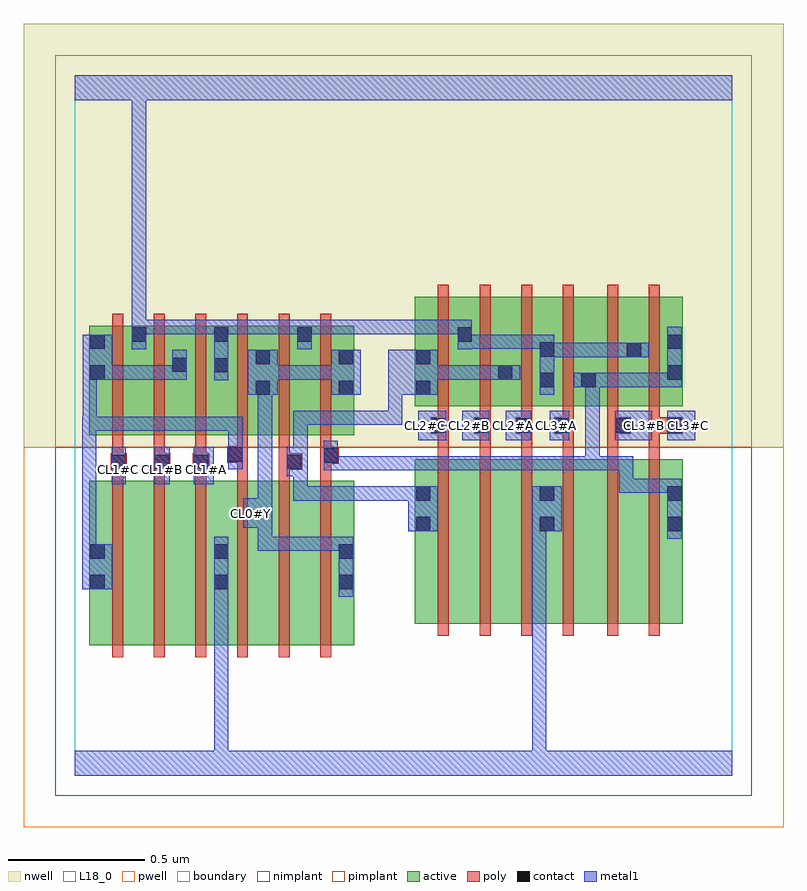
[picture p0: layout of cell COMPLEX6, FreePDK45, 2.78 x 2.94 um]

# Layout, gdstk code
import gdstk
lib = gdstk.Library(unit=1e-6, precision=1e-09)
def R(c, l, rs):  # rectangles x0, y0, x1, y1
    for r in rs: c.add(gdstk.rectangle(r[:2], r[2:], *l))
def A(c, l, x, y, w, h, nx, ny, dx, dy):  # array of equal rectangles
    R(c, l, [(x+i*dx, y+j*dy, x+i*dx+w, y+j*dy+h) for i in range(nx) for j in range(ny)])
active = (1, 0)
pwell = (2, 0)
nwell = (3, 0)
nimplant = (4, 0)
pimplant = (5, 0)
poly = (9, 0)
contact = (10, 0)
metal1 = (11, 0)
L18_0 = (18, 0)
boundary = (235, 0)

complex6 = lib.new_cell('COMPLEX6')
A(complex6, active, 0.352, 1.244, 0.212, 0.4, 4, 1, 0.152, 0)
A(complex6, active, 0.352, 1.244, 0.06, 0.4, 5, 1, 0.152, 0)
A(complex6, active, 1.542, 1.35, 0.06, 0.294, 3, 1, 0.152, 0)
R(complex6, active, [(0.052,0.478,0.232,1.078), (0.232,0.478,0.384,1.078), (0.384,0.478,0.564,1.078), (0.504,0.478,0.688,1.078), (0.688,0.478,0.84,1.078), (0.84,0.478,1.02,1.078), (0.052,0.556,0.112,1.078), (0.504,0.556,0.564,0.85), (0.96,0.556,1.02,1.078), (1.242,0.556,1.302,1.156), (1.242,0.556,1.422,1.156), (1.422,0.556,1.574,1.156), (1.574,0.556,1.754,1.156), (1.694,0.556,1.754,1.156), (1.694,0.556,1.888,1.156), (1.888,0.556,2.04,1.156), (2.04,0.556,2.22,1.156), (2.16,0.556,2.22,1.156), (0.052,1.244,0.264,1.644), (0.052,1.244,0.112,1.644), (0.204,1.244,0.412,1.644), (0.204,1.244,0.264,1.644), (1.242,1.35,1.302,1.644), (1.242,1.35,1.454,1.75), (1.394,1.35,1.454,1.644), (1.394,1.35,1.602,1.75), (1.542,1.35,1.754,1.75), (1.694,1.35,1.906,1.75), (1.846,1.35,2.072,1.75), (2.012,1.35,2.072,1.644), (2.012,1.35,2.22,1.75), (2.16,1.35,2.22,1.644)])
R(complex6, pwell, [(-0.188,-0.188,2.588,1.2)])
R(complex6, nwell, [(-0.188,1.2,2.588,2.748)])
R(complex6, nimplant, [(-0.072,-0.072,2.472,1.2)])
R(complex6, pimplant, [(-0.072,1.2,2.472,2.632)])
A(complex6, poly, 0.136, 0.434, 0.04, 0.688, 6, 1, 0.152, 0)
A(complex6, poly, 1.326, 0.512, 0.04, 0.688, 4, 1, 0.152, 0)
A(complex6, poly, 0.136, 1.082, 0.04, 0.076, 3, 1, 0.152, 0)
A(complex6, poly, 0.136, 1.138, 0.04, 0.102, 3, 1, 0.152, 0)
A(complex6, poly, 1.326, 1.16, 0.04, 0.13, 4, 1, 0.152, 0)
A(complex6, poly, 0.136, 1.2, 0.04, 0.488, 6, 1, 0.152, 0)
A(complex6, poly, 1.326, 1.27, 0.04, 0.076, 4, 1, 0.152, 0)
A(complex6, poly, 1.326, 1.306, 0.04, 0.488, 4, 1, 0.152, 0)
R(complex6, poly, [(1.944,0.512,1.984,1.2), (2.096,0.512,2.136,1.2), (0.592,1.082,0.632,1.184), (0.744,1.082,0.784,1.158), (0.896,1.082,0.936,1.18), (0.13,1.118,0.19,1.178), (0.288,1.118,0.348,1.178), (0.43,1.118,0.49,1.178), (0.744,1.118,0.83,1.178), (0.136,1.138,0.176,1.178), (0.136,1.138,0.176,1.178), (0.288,1.138,0.328,1.178), (0.288,1.138,0.328,1.178), (0.44,1.138,0.48,1.178), (0.44,1.138,0.48,1.178), (0.744,1.138,0.784,1.178), (0.744,1.138,0.784,1.178), (0.744,1.138,0.784,1.24), (0.896,1.14,0.964,1.2), (0.556,1.144,0.632,1.204), (0.592,1.144,0.632,1.184), (0.592,1.144,0.632,1.184), (0.896,1.16,0.936,1.2), (0.896,1.16,0.936,1.2), (0.896,1.16,0.936,1.24), (1.944,1.16,1.984,1.29), (2.096,1.16,2.136,1.29), (0.592,1.164,0.632,1.24), (1.3,1.25,1.366,1.31), (1.326,1.25,1.366,1.29), (1.326,1.25,1.366,1.29), (1.458,1.25,1.518,1.31), (1.478,1.25,1.518,1.29), (1.478,1.25,1.518,1.29), (1.61,1.25,1.67,1.31), (1.63,1.25,1.67,1.29), (1.63,1.25,1.67,1.29), (1.75,1.25,1.822,1.31), (1.782,1.25,1.822,1.29), (1.782,1.25,1.822,1.29), (1.944,1.25,1.984,1.29), (1.944,1.25,1.984,1.29), (1.944,1.25,2.03,1.31), (2.096,1.25,2.136,1.29), (2.096,1.25,2.136,1.29), (2.096,1.25,2.22,1.31), (1.944,1.27,1.984,1.346), (2.096,1.27,2.136,1.346), (1.944,1.306,1.984,1.794), (2.096,1.306,2.136,1.794)])
R(complex6, contact, [(0.056,0.682,0.108,0.734), (0.508,0.682,0.56,0.734), (0.964,0.682,1.016,0.734), (0.056,0.794,0.108,0.846), (0.508,0.794,0.56,0.846), (0.964,0.794,1.016,0.846), (1.246,0.894,1.298,0.946), (1.698,0.894,1.75,0.946), (2.164,0.894,2.216,0.946), (1.246,1.006,1.298,1.058), (1.698,1.006,1.75,1.058), (2.164,1.006,2.216,1.058), (0.134,1.122,0.186,1.174), (0.292,1.122,0.344,1.174), (0.434,1.122,0.486,1.174), (0.774,1.122,0.826,1.174), (0.908,1.144,0.96,1.196), (0.56,1.148,0.612,1.2), (1.304,1.254,1.356,1.306), (1.462,1.254,1.514,1.306), (1.614,1.254,1.666,1.306), (1.754,1.254,1.806,1.306), (1.974,1.254,2.026,1.306), (2.164,1.254,2.216,1.306), (0.66,1.392,0.712,1.444), (0.964,1.392,1.016,1.444), (1.246,1.392,1.298,1.444), (1.698,1.42,1.75,1.472), (1.85,1.42,1.902,1.472), (0.056,1.448,0.108,1.5), (1.546,1.448,1.598,1.5), (2.164,1.448,2.216,1.5), (0.508,1.474,0.56,1.526), (0.356,1.476,0.408,1.528), (0.66,1.504,0.712,1.556), (0.964,1.504,1.016,1.556), (1.246,1.504,1.298,1.556), (2.016,1.53,2.068,1.582), (1.698,1.532,1.75,1.584), (0.056,1.56,0.108,1.612), (2.164,1.56,2.216,1.612), (0.208,1.586,0.26,1.638), (0.508,1.586,0.56,1.638), (0.812,1.586,0.864,1.638), (1.398,1.586,1.45,1.638)])
R(complex6, metal1, [(0,0,2.4,0.092), (0.508,0.04,0.56,0.092), (0.508,0.04,0.56,0.092), (0.508,0.04,0.56,0.092), (0.508,0.04,0.56,0.092), (0.508,0.04,0.56,0.092), (0.508,0.04,0.56,0.092), (0.508,0.04,0.56,0.092), (0.508,0.04,0.56,0.092), (0.508,0.04,0.56,0.706), (1.67,0.04,1.722,0.946), (0.508,0.654,0.56,0.874), (0.964,0.654,1.016,0.874), (0.026,0.682,0.136,0.846), (0.026,0.794,0.078,0.846), (0.026,0.794,0.078,0.846), (0.026,0.794,0.078,1.312), (0.668,0.822,0.72,0.874), (0.668,0.822,0.72,0.874), (0.668,0.822,0.72,0.958), (0.668,0.822,0.722,0.874), (0.67,0.822,0.722,0.874), (0.67,0.822,0.722,0.874), (0.67,0.822,0.864,0.874), (0.812,0.822,0.864,0.874), (0.812,0.822,1.016,0.874), (0.964,0.822,1.016,0.874), (0.964,0.822,1.016,0.874), (2.164,0.866,2.216,1.086), (1.218,0.894,1.326,1.058), (1.67,0.894,1.722,0.946), (1.67,0.894,1.722,0.946), (1.67,0.894,1.722,0.946), (1.67,0.894,1.722,0.946), (1.67,0.894,1.722,0.946), (1.67,0.894,1.722,0.946), (1.67,0.894,1.722,0.946), (1.67,0.894,1.722,0.946), (1.67,0.894,1.778,1.058), (0.614,0.906,0.72,1.014), (0.668,0.962,0.72,1.014), (0.668,0.962,0.72,1.014), (0.668,0.962,0.72,1.444), (0.798,1.006,0.85,1.058), (0.798,1.006,1.086,1.058), (0.798,1.006,0.85,1.146), (1.034,1.006,1.086,1.058), (1.034,1.006,1.086,1.058), (1.034,1.006,1.086,1.058), (1.034,1.006,1.27,1.058), (1.988,1.034,2.04,1.086), (1.988,1.034,2.216,1.086), (1.988,1.034,2.04,1.168), (2.164,1.034,2.216,1.086), (2.164,1.034,2.216,1.086), (0.134,1.066,0.186,1.202), (0.292,1.066,0.346,1.202), (0.434,1.066,0.506,1.202), (0.774,1.094,0.826,1.202), (0.774,1.094,0.85,1.146), (0.798,1.094,0.85,1.146), (0.798,1.094,0.85,1.334), (0.908,1.116,0.96,1.224), (0.908,1.116,0.974,1.168), (0.922,1.116,0.974,1.168), (0.922,1.116,1.306,1.168), (1.254,1.116,1.306,1.168), (1.254,1.116,1.306,1.168), (1.254,1.116,1.306,1.168), (1.254,1.116,1.45,1.168), (1.398,1.116,1.45,1.168), (1.398,1.116,1.45,1.168), (1.398,1.116,1.45,1.168), (1.398,1.116,1.56,1.168), (1.508,1.116,1.56,1.168), (1.508,1.116,1.56,1.168), (1.508,1.116,1.56,1.168), (1.508,1.116,1.67,1.168), (1.618,1.116,1.67,1.168), (1.618,1.116,1.916,1.168), (1.864,1.116,1.916,1.168), (1.864,1.116,1.916,1.168), (1.864,1.116,1.916,1.168), (1.864,1.116,1.916,1.168), (1.864,1.116,1.916,1.168), (1.864,1.116,2.04,1.168), (1.864,1.116,1.916,1.472), (1.988,1.116,2.04,1.168), (1.988,1.116,2.04,1.168), (1.988,1.116,2.04,1.168), (0.56,1.12,0.612,1.312), (1.254,1.226,1.356,1.334), (1.414,1.226,1.514,1.334), (1.574,1.226,1.666,1.334), (1.734,1.226,1.806,1.334), (1.974,1.226,2.106,1.334), (2.164,1.226,2.266,1.334), (0.026,1.26,0.08,1.312), (0.028,1.26,0.08,1.312), (0.028,1.26,0.08,1.312), (0.028,1.26,0.08,1.5), (0.028,1.26,0.26,1.312), (0.208,1.26,0.26,1.312), (0.208,1.26,0.26,1.312), (0.208,1.26,0.26,1.312), (0.208,1.26,0.37,1.312), (0.318,1.26,0.37,1.312), (0.318,1.26,0.37,1.312), (0.318,1.26,0.37,1.312), (0.318,1.26,0.48,1.312), (0.428,1.26,0.48,1.312), (0.428,1.26,0.612,1.312), (0.798,1.282,0.85,1.334), (0.798,1.282,0.936,1.334), (0.884,1.282,0.936,1.334), (0.884,1.282,1.196,1.334), (1.144,1.282,1.196,1.334), (1.144,1.282,1.196,1.334), (1.144,1.282,1.196,1.334), (1.144,1.282,1.196,1.444), (0.632,1.392,0.74,1.556), (0.936,1.392,1.044,1.556), (1.144,1.392,1.326,1.556), (1.698,1.392,1.75,1.612), (1.822,1.42,1.93,1.472), (1.878,1.42,2.04,1.472), (1.988,1.42,2.04,1.472), (1.988,1.42,2.04,1.472), (1.988,1.42,2.04,1.472), (1.988,1.42,2.216,1.472), (2.164,1.42,2.216,1.472), (2.164,1.42,2.216,1.472), (2.164,1.42,2.216,1.64), (0.508,1.446,0.56,1.666), (0.028,1.448,0.136,1.612), (0.084,1.448,0.136,1.5), (0.084,1.448,0.136,1.5), (0.084,1.448,0.26,1.5), (0.208,1.448,0.26,1.5), (0.208,1.448,0.26,1.5), (0.208,1.448,0.26,1.5), (0.208,1.448,0.408,1.5), (0.356,1.448,0.408,1.556), (0.688,1.448,0.74,1.5), (0.688,1.448,0.74,1.5), (0.688,1.448,0.85,1.5), (0.798,1.448,0.85,1.5), (0.798,1.448,0.988,1.5), (0.936,1.448,0.988,1.5), (0.936,1.448,0.988,1.5), (1.274,1.448,1.326,1.5), (1.274,1.448,1.326,1.5), (1.274,1.448,1.45,1.5), (1.398,1.448,1.45,1.5), (1.398,1.448,1.45,1.5), (1.398,1.448,1.45,1.5), (1.398,1.448,1.57,1.5), (1.518,1.448,1.626,1.5), (1.698,1.53,1.916,1.582), (1.864,1.53,1.916,1.582), (1.864,1.53,1.916,1.582), (1.864,1.53,1.916,1.582), (1.864,1.53,2.04,1.582), (1.988,1.53,2.04,1.582), (1.988,1.53,2.04,1.582), (1.988,1.53,2.096,1.582), (0.208,1.558,0.26,1.666), (0.812,1.558,0.864,1.666), (1.398,1.558,1.45,1.666), (1.398,1.56,1.45,1.612), (1.398,1.56,1.45,1.612), (1.398,1.56,1.56,1.612), (1.508,1.56,1.56,1.612), (1.508,1.56,1.56,1.612), (1.508,1.56,1.56,1.612), (1.508,1.56,1.75,1.612), (0.208,1.614,0.26,1.666), (0.208,1.614,0.26,1.666), (0.208,1.614,0.26,1.666), (0.208,1.614,0.26,1.666), (0.208,1.614,0.26,1.666), (0.208,1.614,0.26,1.666), (0.208,1.614,0.26,1.666), (0.208,1.614,0.26,1.666), (0.208,1.614,0.26,1.666), (0.208,1.614,0.26,1.666), (0.208,1.614,0.37,1.666), (0.208,1.614,0.26,2.52), (0.318,1.614,0.37,1.666), (0.318,1.614,0.37,1.666), (0.318,1.614,0.37,1.666), (0.318,1.614,0.56,1.666), (0.508,1.614,0.56,1.666), (0.508,1.614,0.56,1.666), (0.508,1.614,0.74,1.666), (0.688,1.614,0.74,1.666), (0.688,1.614,0.74,1.666), (0.688,1.614,0.74,1.666), (0.688,1.614,0.864,1.666), (0.812,1.614,1.086,1.666), (1.034,1.614,1.086,1.666), (1.034,1.614,1.086,1.666), (1.034,1.614,1.086,1.666), (1.034,1.614,1.306,1.666), (1.254,1.614,1.306,1.666), (1.254,1.614,1.306,1.666), (1.254,1.614,1.306,1.666), (1.254,1.614,1.45,1.666), (0,2.468,2.4,2.56), (0.208,2.468,0.26,2.52), (0.208,2.468,0.26,2.52), (0.208,2.468,0.26,2.52), (0.208,2.468,0.26,2.52), (0.208,2.468,0.26,2.52), (0.208,2.468,0.26,2.52), (0.208,2.468,0.26,2.52), (0.208,2.468,0.26,2.52)])
A(complex6, L18_0, 0.134, 1.094, 0.052, 0.052, 3, 1, 0.16, 0)
A(complex6, L18_0, 1.254, 1.254, 0.052, 0.052, 4, 1, 0.16, 0)
R(complex6, L18_0, [(0,0,2.4,0.092), (0.508,0.04,0.56,0.092), (0.508,0.04,0.56,0.092), (0.508,0.04,0.56,0.092), (0.508,0.04,0.56,0.092), (0.508,0.04,0.56,0.092), (0.508,0.04,0.56,0.092), (0.508,0.04,0.56,0.092), (0.508,0.04,0.56,0.092), (0.508,0.04,0.56,0.706), (1.67,0.04,1.722,0.946), (0.508,0.654,0.56,0.874), (0.964,0.654,1.016,0.874), (0.668,0.822,0.72,0.958), (0.668,0.822,0.72,0.874), (0.668,0.822,0.72,0.874), (0.668,0.822,0.722,0.874), (0.67,0.822,0.722,0.874), (0.67,0.822,0.722,0.874), (0.67,0.822,0.864,0.874), (0.812,0.822,0.864,0.874), (0.812,0.822,1.016,0.874), (0.964,0.822,1.016,0.874), (0.964,0.822,1.016,0.874), (1.67,0.894,1.722,0.946), (1.67,0.894,1.722,0.946), (1.67,0.894,1.722,0.946), (1.67,0.894,1.722,0.946), (1.67,0.894,1.722,0.946), (1.67,0.894,1.722,0.946), (1.67,0.894,1.722,0.946), (1.67,0.894,1.722,0.946), (1.67,0.894,1.778,1.058), (0.614,0.906,0.72,1.014), (0.614,0.934,0.666,0.986), (0.668,0.962,0.72,1.014), (0.668,0.962,0.72,1.014), (0.668,0.962,0.72,1.444), (0.134,1.066,0.186,1.202), (0.292,1.066,0.346,1.202), (0.434,1.066,0.506,1.202), (1.254,1.226,1.356,1.334), (1.414,1.226,1.514,1.334), (1.574,1.226,1.666,1.334), (1.734,1.226,1.806,1.334), (1.974,1.226,2.106,1.334), (2.164,1.226,2.266,1.334), (2.054,1.254,2.106,1.306), (2.214,1.254,2.266,1.306), (0.632,1.392,0.74,1.556), (0.936,1.392,1.044,1.556), (1.698,1.392,1.75,1.612), (0.508,1.446,0.56,1.666), (0.688,1.448,0.74,1.5), (0.688,1.448,0.74,1.5), (0.688,1.448,0.85,1.5), (0.798,1.448,0.85,1.5), (0.798,1.448,0.988,1.5), (0.936,1.448,0.988,1.5), (0.936,1.448,0.988,1.5), (1.698,1.53,1.916,1.582), (1.864,1.53,1.916,1.582), (1.864,1.53,1.916,1.582), (1.864,1.53,1.916,1.582), (1.864,1.53,2.04,1.582), (1.988,1.53,2.04,1.582), (1.988,1.53,2.04,1.582), (1.988,1.53,2.096,1.582), (0.208,1.558,0.26,1.666), (0.812,1.558,0.864,1.666), (1.398,1.558,1.45,1.666), (1.398,1.56,1.45,1.612), (1.398,1.56,1.45,1.612), (1.398,1.56,1.56,1.612), (1.508,1.56,1.56,1.612), (1.508,1.56,1.56,1.612), (1.508,1.56,1.56,1.612), (1.508,1.56,1.75,1.612), (0.208,1.614,0.26,1.666), (0.208,1.614,0.26,1.666), (0.208,1.614,0.26,1.666), (0.208,1.614,0.26,1.666), (0.208,1.614,0.26,1.666), (0.208,1.614,0.26,1.666), (0.208,1.614,0.26,1.666), (0.208,1.614,0.26,1.666), (0.208,1.614,0.26,1.666), (0.208,1.614,0.26,1.666), (0.208,1.614,0.26,2.52), (0.208,1.614,0.37,1.666), (0.318,1.614,0.37,1.666), (0.318,1.614,0.37,1.666), (0.318,1.614,0.37,1.666), (0.318,1.614,0.56,1.666), (0.508,1.614,0.56,1.666), (0.508,1.614,0.56,1.666), (0.508,1.614,0.74,1.666), (0.688,1.614,0.74,1.666), (0.688,1.614,0.74,1.666), (0.688,1.614,0.74,1.666), (0.688,1.614,0.864,1.666), (0.812,1.614,1.086,1.666), (1.034,1.614,1.086,1.666), (1.034,1.614,1.086,1.666), (1.034,1.614,1.086,1.666), (1.034,1.614,1.306,1.666), (1.254,1.614,1.306,1.666), (1.254,1.614,1.306,1.666), (1.254,1.614,1.306,1.666), (1.254,1.614,1.45,1.666), (0,2.468,2.4,2.56), (0.208,2.468,0.26,2.52), (0.208,2.468,0.26,2.52), (0.208,2.468,0.26,2.52), (0.208,2.468,0.26,2.52), (0.208,2.468,0.26,2.52), (0.208,2.468,0.26,2.52), (0.208,2.468,0.26,2.52), (0.208,2.468,0.26,2.52)])
R(complex6, boundary, [(0,0,2.4,2.56)])
complex6.add(gdstk.Label('CL0#Y', (0.64,0.96), layer=11, texttype=0))
complex6.add(gdstk.Label('CL1#A', (0.48,1.12), layer=11, texttype=0))
complex6.add(gdstk.Label('CL1#B', (0.32,1.12), layer=11, texttype=0))
complex6.add(gdstk.Label('CL1#C', (0.16,1.12), layer=11, texttype=0))
complex6.add(gdstk.Label('CL2#A', (1.6,1.28), layer=11, texttype=0))
complex6.add(gdstk.Label('CL2#B', (1.44,1.28), layer=11, texttype=0))
complex6.add(gdstk.Label('CL2#C', (1.28,1.28), layer=11, texttype=0))
complex6.add(gdstk.Label('CL3#A', (1.76,1.28), layer=11, texttype=0))
complex6.add(gdstk.Label('CL3#B', (2.08,1.28), layer=11, texttype=0))
complex6.add(gdstk.Label('CL3#C', (2.24,1.28), layer=11, texttype=0))

lib.write_gds('COMPLEX6.gds')
